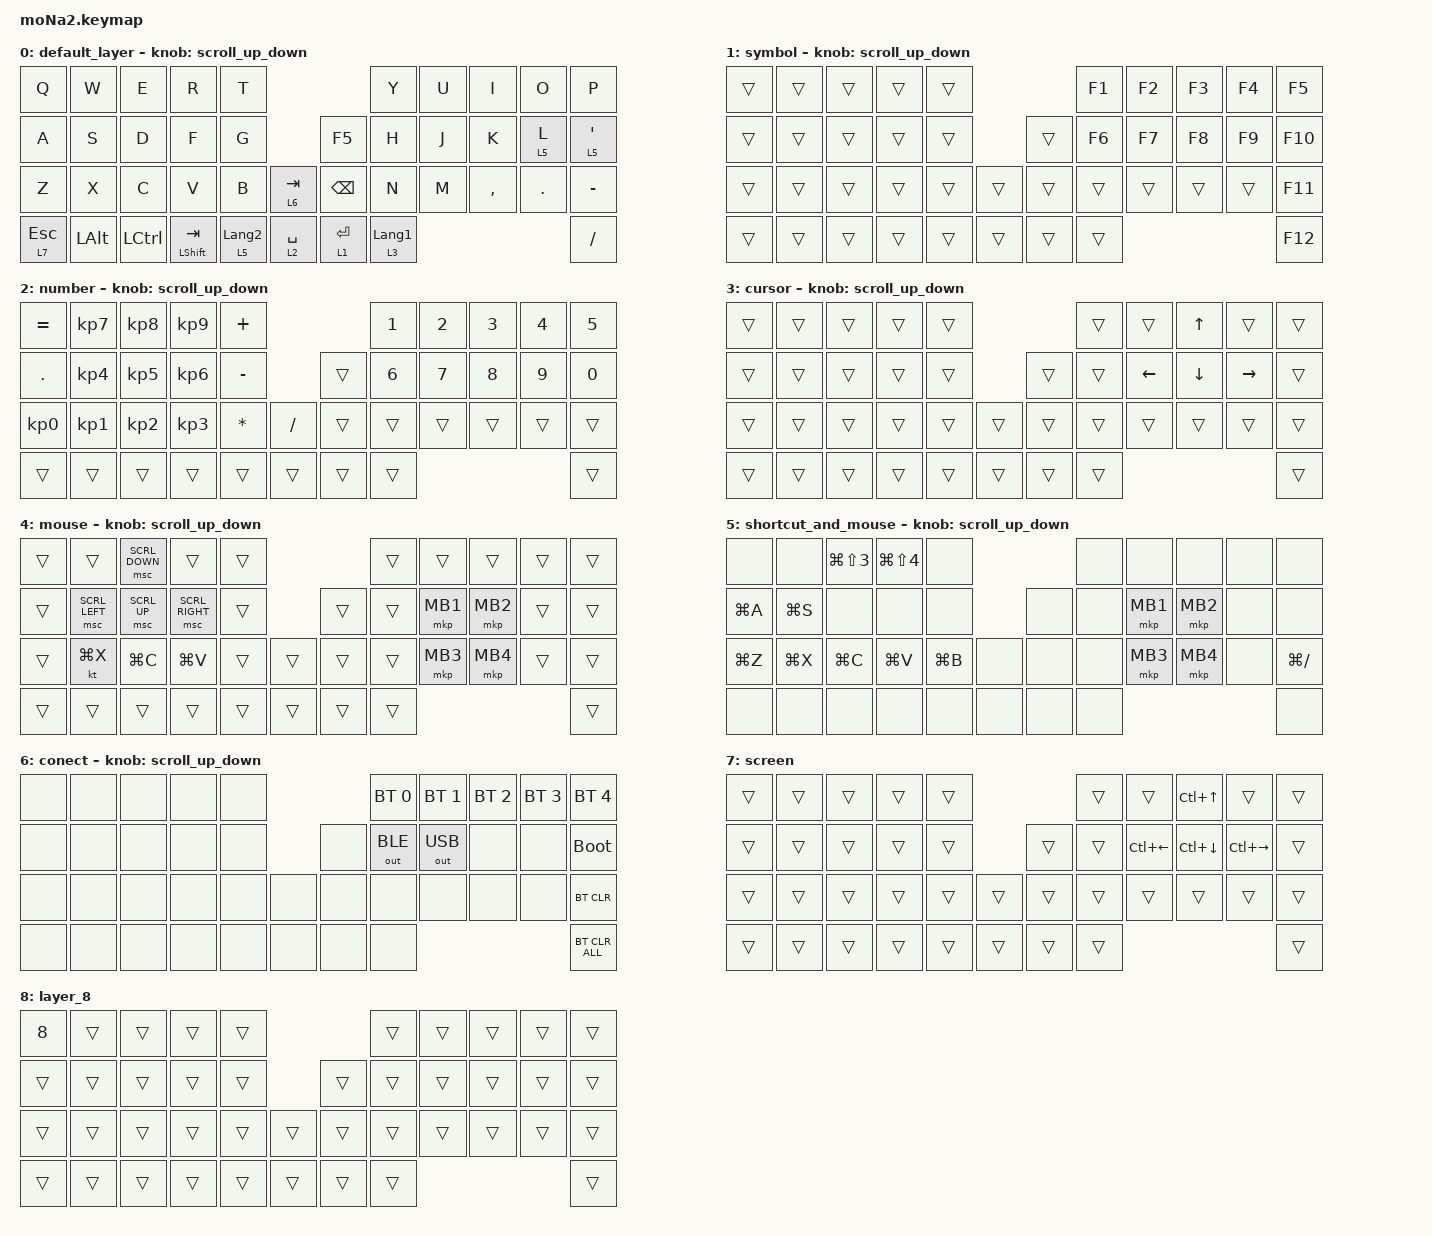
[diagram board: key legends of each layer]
#include <behaviors.dtsi>
#include <dt-bindings/zmk/bt.h>
#include <dt-bindings/zmk/keys.h>
#include <dt-bindings/zmk/outputs.h>
#include <dt-bindings/zmk/pointing.h>

#define ZMK_POINTING_DEFAULT_SCRL_VAL 100
#define MOUSE 5
#define SCROLL 6

&mt {
    flavor = "balanced";
    quick-tap-ms = <0>;
};

/ {
    combos {
        compatible = "zmk,combos";

        mbt3 {
            bindings = <&mkp MB3>;
            key-positions = <17 18>;
        };
    };

    macros {
        to_layer_0: to_layer_0 {
            compatible = "zmk,behavior-macro-one-param";
            #binding-cells = <1>;
            bindings = <&to 0 &macro_param_1to1 &kp MACRO_PLACEHOLDER>;
            label = "TO_LAYER_0";
        };
    };

    behaviors {
        lt_to_layer_0: lt_to_layer_0 {
            compatible = "zmk,behavior-hold-tap";
            label = "LAYER_TAP_TO_0";
            bindings = <&mo>, <&to_layer_0>;

            #binding-cells = <2>;
            tapping-term-ms = <200>;
        };

        scroll_up_down: behavior_sensor_rotate_mouse_wheel_up_down {
            compatible = "zmk,behavior-sensor-rotate";
            #sensor-binding-cells = <0>;
            bindings = <&msc SCRL_UP>, <&msc SCRL_DOWN>;

            tap-ms = <20>;
        };
    };

    keymap {
        compatible = "zmk,keymap";

        default_layer {
            bindings = <
&kp Q      &kp W         &kp E             &kp R               &kp T                                           &kp Y             &kp U  &kp I      &kp O    &kp P
&kp A      &kp S         &kp D             &kp F               &kp G                            &kp F5         &kp H             &kp J  &kp K      &lt 5 L  &lt 5 SQT
&kp Z      &kp X         &kp C             &kp V               &kp B             &lt 6 TAB      &kp BACKSPACE  &kp N             &kp M  &kp COMMA  &kp DOT  &kp MINUS
&lt 7 ESC  &kp LEFT_ALT  &kp LEFT_CONTROL  &mt LEFT_SHIFT TAB  &lt 5 LANGUAGE_2  &lt 2 SPACE    &lt 1 ENTER    &lt 3 LANGUAGE_1                             &kp FSLH
            >;

            sensor-bindings = <&scroll_up_down>;
        };

        symbol {
            bindings = <
&trans  &trans  &trans  &trans  &trans                    &kp F1  &kp F2  &kp F3  &kp F4  &kp F5
&trans  &trans  &trans  &trans  &trans            &trans  &kp F6  &kp F7  &kp F8  &kp F9  &kp F10
&trans  &trans  &trans  &trans  &trans  &trans    &trans  &trans  &trans  &trans  &trans  &kp F11
&trans  &trans  &trans  &trans  &trans  &trans    &trans  &trans                          &kp F12
            >;

            sensor-bindings = <&scroll_up_down>;
        };

        number {
            bindings = <
&kp EQUAL        &kp KP_NUMBER_7  &kp KP_NUMBER_8  &kp KP_NUMBER_9  &kp PLUS                           &kp N1  &kp N2  &kp N3  &kp N4  &kp N5
&kp DOT          &kp KP_NUMBER_4  &kp KP_NUMBER_5  &kp KP_NUMBER_6  &kp MINUS                  &trans  &kp N6  &kp N7  &kp N8  &kp N9  &kp N0
&kp KP_NUMBER_0  &kp KP_NUMBER_1  &kp KP_NUMBER_2  &kp KP_NUMBER_3  &kp ASTERISK  &kp SLASH    &trans  &trans  &trans  &trans  &trans  &trans
&trans           &trans           &trans           &trans           &trans        &trans       &trans  &trans                          &trans
            >;

            sensor-bindings = <&scroll_up_down>;
        };

        cursor {
            bindings = <
&trans  &trans  &trans  &trans  &trans                    &trans  &trans    &kp UP    &trans     &trans
&trans  &trans  &trans  &trans  &trans            &trans  &trans  &kp LEFT  &kp DOWN  &kp RIGHT  &trans
&trans  &trans  &trans  &trans  &trans  &trans    &trans  &trans  &trans    &trans    &trans     &trans
&trans  &trans  &trans  &trans  &trans  &trans    &trans  &trans                                 &trans
            >;

            sensor-bindings = <&scroll_up_down>;
        };

        mouse {
            bindings = <
&trans  &trans          &msc SCRL_DOWN  &trans           &trans                    &trans  &trans    &trans    &trans  &trans
&trans  &msc SCRL_LEFT  &msc SCRL_UP    &msc SCRL_RIGHT  &trans            &trans  &trans  &mkp MB1  &mkp MB2  &trans  &trans
&trans  &kt LG(X)       &kp LG(C)       &kp LG(V)        &trans  &trans    &trans  &trans  &mkp MB3  &mkp MB4  &trans  &trans
&trans  &trans          &trans          &trans           &trans  &trans    &trans  &trans                              &trans
            >;

            sensor-bindings = <&scroll_up_down>;
        };

        shortcut_and_mouse {
            bindings = <
&none      &none      &kp LG(LS(NUMBER_3))  &kp LG(LS(NUMBER_4))  &none                      &none  &none     &none     &none  &none
&kp LG(A)  &kp LG(S)  &none                 &none                 &none               &none  &none  &mkp MB1  &mkp MB2  &none  &none
&kp LG(Z)  &kp LG(X)  &kp LG(C)             &kp LG(V)             &kp LG(B)  &none    &none  &none  &mkp MB3  &mkp MB4  &none  &kp LG(FSLH)
&none      &none      &none                 &none                 &none      &none    &none  &none                             &none
            >;

            sensor-bindings = <&scroll_up_down>;
        };

        conect {
            bindings = <
&none  &none  &none  &none  &none                  &bt BT_SEL 0  &bt BT_SEL 1  &bt BT_SEL 2  &bt BT_SEL 3  &bt BT_SEL 4
&none  &none  &none  &none  &none           &none  &out OUT_BLE  &out OUT_USB  &none         &none         &bootloader
&none  &none  &none  &none  &none  &none    &none  &none         &none         &none         &none         &bt BT_CLR
&none  &none  &none  &none  &none  &none    &none  &none                                                   &bt BT_CLR_ALL
            >;

            sensor-bindings = <&scroll_up_down>;
        };

        screen {
            bindings = <
&trans  &trans  &trans  &trans  &trans                    &trans  &trans        &kp LC(UP)    &trans         &trans
&trans  &trans  &trans  &trans  &trans            &trans  &trans  &kp LC(LEFT)  &kp LC(DOWN)  &kp LC(RIGHT)  &trans
&trans  &trans  &trans  &trans  &trans  &trans    &trans  &trans  &trans        &trans        &trans         &trans
&trans  &trans  &trans  &trans  &trans  &trans    &trans  &trans                                             &trans
            >;
        };

        layer_8 {
            bindings = <
&kp NUMBER_8  &trans  &trans  &trans  &trans                    &trans  &trans  &trans  &trans  &trans
&trans        &trans  &trans  &trans  &trans            &trans  &trans  &trans  &trans  &trans  &trans
&trans        &trans  &trans  &trans  &trans  &trans    &trans  &trans  &trans  &trans  &trans  &trans
&trans        &trans  &trans  &trans  &trans  &trans    &trans  &trans                          &trans
            >;
        };
    };
};
